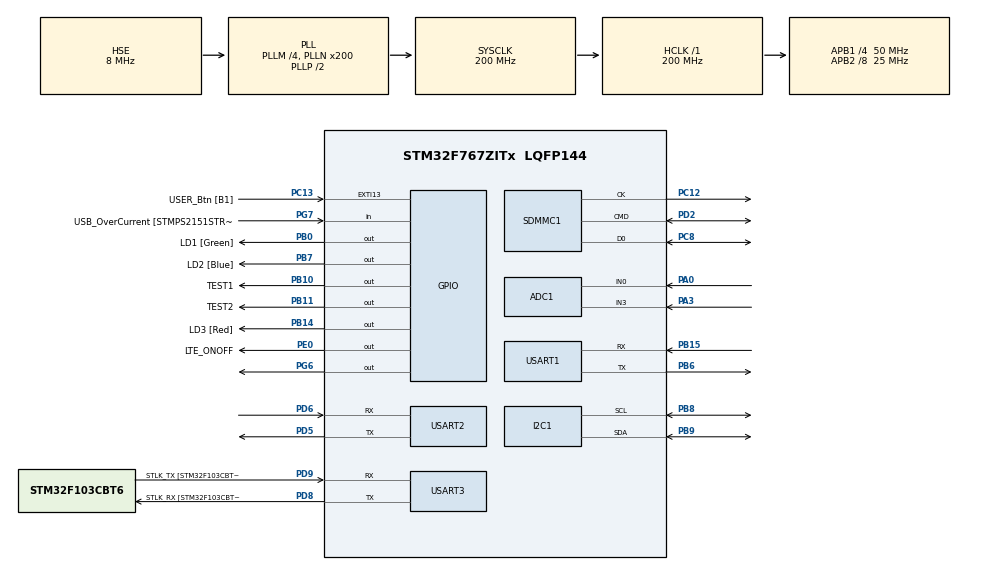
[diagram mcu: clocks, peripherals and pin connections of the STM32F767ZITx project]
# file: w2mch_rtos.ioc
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ADC1.Channel-0\#ChannelRegularConversion=ADC_CHANNEL_0
ADC1.Channel-2\#ChannelRegularConversion=ADC_CHANNEL_3
ADC1.ClockPrescaler=ADC_CLOCK_SYNC_PCLK_DIV8
ADC1.ContinuousConvMode=ENABLE
ADC1.DMAContinuousRequests=ENABLE
ADC1.NbrOfConversion=2
ADC1.NbrOfConversionFlag=1
ADC1.Rank-0\#ChannelRegularConversion=1
ADC1.Rank-2\#ChannelRegularConversion=2
ADC1.SamplingTime-0\#ChannelRegularConversion=ADC_SAMPLETIME_84CYCLES
ADC1.SamplingTime-2\#ChannelRegularConversion=ADC_SAMPLETIME_28CYCLES
ADC1.ScanConvMode=ADC_SCAN_ENABLE
ADC1.master=1
Dma.ADC1.0.Direction=DMA_PERIPH_TO_MEMORY
Dma.ADC1.0.FIFOMode=DMA_FIFOMODE_DISABLE
Dma.ADC1.0.Instance=DMA2_Stream0
Dma.ADC1.0.MemDataAlignment=DMA_MDATAALIGN_HALFWORD
Dma.ADC1.0.MemInc=DMA_MINC_ENABLE
Dma.ADC1.0.Mode=DMA_CIRCULAR
Dma.ADC1.0.PeriphDataAlignment=DMA_PDATAALIGN_HALFWORD
Dma.ADC1.0.PeriphInc=DMA_PINC_DISABLE
Dma.ADC1.0.Priority=DMA_PRIORITY_LOW
Dma.Request0=ADC1
Dma.Request1=USART2_RX
Dma.USART2_RX.1.Direction=DMA_PERIPH_TO_MEMORY
Dma.USART2_RX.1.FIFOMode=DMA_FIFOMODE_DISABLE
Dma.USART2_RX.1.Instance=DMA1_Stream5
Dma.USART2_RX.1.MemDataAlignment=DMA_MDATAALIGN_BYTE
Dma.USART2_RX.1.MemInc=DMA_MINC_ENABLE
Dma.USART2_RX.1.Mode=DMA_NORMAL
Dma.USART2_RX.1.PeriphDataAlignment=DMA_PDATAALIGN_BYTE
Dma.USART2_RX.1.PeriphInc=DMA_PINC_DISABLE
Dma.USART2_RX.1.Priority=DMA_PRIORITY_LOW
FREERTOS.Tasks01=mainTask,24,1024,StartMainTask,Default,NULL,Dynamic,NULL,NULL
FREERTOS.configUSE_NEWLIB_REENTRANT=1
I2C1.Timing=0x00C0EAFF
Mcu.Family=STM32F7
Mcu.Name=STM32F767ZITx
Mcu.Package=LQFP144
NVIC.DMA1_Stream5_IRQn=true\:5\:0\:false\:false\:true\:true\:false\:true
NVIC.DMA2_Stream0_IRQn=true\:5\:0\:false\:false\:true\:true\:false\:true
NVIC.PriorityGroup=NVIC_PRIORITYGROUP_4
NVIC.TIM8_TRG_COM_TIM14_IRQn=true\:15\:0\:false\:false\:true\:false\:false\:true
NVIC.TimeBase=TIM8_TRG_COM_TIM14_IRQn
NVIC.TimeBaseIP=TIM14
NVIC.USART2_IRQn=true\:5\:0\:false\:false\:true\:true\:true\:true
PA0/WKUP.Signal=ADCx_IN0
PA1.GPIO_Label=RMII_REF_CLK [LAN8742A-CZ-TR_REFCLK0]
PA1.Signal=ETH_REF_CLK
PA10.GPIO_Label=USB_ID
PA10.Signal=USB_OTG_FS_ID
PA11.GPIO_Label=USB_DM
PA11.Signal=USB_OTG_FS_DM
PA12.GPIO_Label=USB_DP
PA12.Signal=USB_OTG_FS_DP
PA13.GPIO_Label=TMS
PA13.Mode=Serial_Wire
PA13.Signal=SYS_JTMS-SWDIO
PA14.GPIO_Label=TCK
PA14.Mode=Serial_Wire
PA14.Signal=SYS_JTCK-SWCLK
PA2.GPIO_Label=RMII_MDIO [LAN8742A-CZ-TR_MDIO]
PA2.Signal=ETH_MDIO
PA3.Signal=ADCx_IN3
PA7.GPIO_Label=RMII_CRS_DV [LAN8742A-CZ-TR_CRS_DV]
PA7.Signal=ETH_CRS_DV
PA8.GPIO_Label=USB_SOF [TP1]
PA8.Signal=USB_OTG_FS_SOF
PA9.GPIO_Label=USB_VBUS
PA9.Signal=USB_OTG_FS_VBUS
PB0.GPIO_Label=LD1 [Green]
PB0.Signal=GPIO_Output
PB10.GPIO_Label=TEST1
PB10.Signal=GPIO_Output
PB11.GPIO_Label=TEST2
PB11.Signal=GPIO_Output
PB13.GPIO_Label=RMII_TXD1 [LAN8742A-CZ-TR_TXD1]
PB13.Signal=ETH_TXD1
PB14.GPIO_Label=LD3 [Red]
PB14.Signal=GPIO_Output
PB15.Mode=Asynchronous
PB15.Signal=USART1_RX
PB3.GPIO_Label=SWO
PB3.Signal=SYS_JTDO-SWO
PB6.Mode=Asynchronous
PB6.Signal=USART1_TX
PB7.GPIO_Label=LD2 [Blue]
PB7.Signal=GPIO_Output
PB8.Mode=I2C
PB8.Signal=I2C1_SCL
PB9.Mode=I2C
PB9.Signal=I2C1_SDA
PC1.GPIO_Label=RMII_MDC [LAN8742A-CZ-TR_MDC]
PC1.Signal=ETH_MDC
PC12.Mode=SD_1_bit
PC12.Signal=SDMMC1_CK
PC13.GPIO_Label=USER_Btn [B1]
PC13.Signal=GPXTI13
PC14/OSC32_IN.Mode=LSE-External-Oscillator
PC14/OSC32_IN.Signal=RCC_OSC32_IN
PC15/OSC32_OUT.Mode=LSE-External-Oscillator
PC15/OSC32_OUT.Signal=RCC_OSC32_OUT
PC4.GPIO_Label=RMII_RXD0 [LAN8742A-CZ-TR_RXD0]
PC4.Signal=ETH_RXD0
PC5.GPIO_Label=RMII_RXD1 [LAN8742A-CZ-TR_RXD1]
PC5.Signal=ETH_RXD1
PC8.Mode=SD_1_bit
PC8.Signal=SDMMC1_D0
PD2.Mode=SD_1_bit
PD2.Signal=SDMMC1_CMD
PD5.GPIO_PuPd=GPIO_NOPULL
PD5.Mode=Asynchronous
PD5.Signal=USART2_TX
PD6.GPIO_PuPd=GPIO_NOPULL
PD6.Mode=Asynchronous
PD6.Signal=USART2_RX
PD8.GPIO_Label=STLK_RX [STM32F103CBT6_PA3]
PD8.Mode=Asynchronous
PD8.Signal=USART3_TX
PD9.GPIO_Label=STLK_TX [STM32F103CBT6_PA2]
PD9.Mode=Asynchronous
PD9.Signal=USART3_RX
PE0.GPIO_Label=LTE_ONOFF
PE0.GPIO_ModeDefaultOutputPP=GPIO_MODE_OUTPUT_OD
PE0.GPIO_PuPd=GPIO_NOPULL
PE0.PinState=GPIO_PIN_SET
PE0.Signal=GPIO_Output
PG11.GPIO_Label=RMII_TX_EN [LAN8742A-CZ-TR_TXEN]
PG11.Signal=ETH_TX_EN
PG13.GPIO_Label=RMII_TXD0 [LAN8742A-CZ-TR_TXD0]
PG13.Signal=ETH_TXD0
PG6.Signal=GPIO_Output
PG7.GPIO_Label=USB_OverCurrent [STMPS2151STR_FAULT]
PG7.Signal=GPIO_Input
PH0/OSC_IN.GPIO_Label=MCO [STM32F103CBT6_PA8]
PH0/OSC_IN.Mode=HSE-External-Clock-Source
PH0/OSC_IN.Signal=RCC_OSC_IN
PH1/OSC_OUT.Mode=HSE-External-Clock-Source
PH1/OSC_OUT.Signal=RCC_OSC_OUT
ProjectManager.HeapSize=0x200
ProjectManager.StackSize=0x400
ProjectManager.TargetToolchain=STM32CubeIDE
RCC.48MHZClocksFreq_Value=24000000
RCC.AHBFreq_Value=200000000
RCC.APB1CLKDivider=RCC_HCLK_DIV4
RCC.APB1Freq_Value=50000000
RCC.APB1TimFreq_Value=100000000
RCC.APB2CLKDivider=RCC_HCLK_DIV8
RCC.APB2Freq_Value=25000000
RCC.APB2TimFreq_Value=50000000
RCC.CortexFreq_Value=200000000
RCC.HCLKFreq_Value=200000000
RCC.HSE_VALUE=8000000
RCC.HSI_VALUE=16000000
RCC.PLLM=4
RCC.PLLMUL=RCC_PLL_MUL9
RCC.PLLN=200
RCC.PLLQ=10
RCC.PLLSourceVirtual=RCC_PLLSOURCE_HSE
RCC.PRESCALERUSB=RCC_USBCLKSOURCE_PLL_DIV1_5
RCC.SDMMCClockSelection=RCC_SDMMC1CLKSOURCE_CLK48
RCC.SYSCLKFreq_VALUE=200000000
RCC.SYSCLKSource=RCC_SYSCLKSOURCE_PLLCLK
RCC.SYSCLKSourceVirtual=RCC_SYSCLKSOURCE_PLLCLK
RCC.USART2CLockSelection=RCC_USART2CLKSOURCE_SYSCLK
RCC.USBFreq_Value=40000000
RCC.VCOOutputFreq_Value=400000000
SDMMC1.ClockDiv=1
SH.ADCx_IN0.0=ADC1_IN0,IN0
SH.ADCx_IN3.0=ADC1_IN3,IN3
USART1.VirtualMode-Asynchronous=VM_ASYNC
USART2.OverSampling=UART_OVERSAMPLING_8
USART2.VirtualMode-Asynchronous=VM_ASYNC
USART3.VirtualMode-Asynchronous=VM_ASYNC
VP_FREERTOS_VS_CMSIS_V2.Mode=CMSIS_V2
VP_RTC_VS_RTC_Activate.Mode=RTC_Enabled
VP_RTC_VS_RTC_Calendar.Mode=RTC_Calendar
VP_SYS_VS_tim14.Mode=TIM14
board=NUCLEO-F767ZI

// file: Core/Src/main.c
/* USER CODE BEGIN Header */
/**
  ******************************************************************************
  * @file           : main.c
  * @brief          : Main program body
  ******************************************************************************
  * @attention
  *
  * Copyright (c) 2022 STMicroelectronics.
  * All rights reserved.
  *
  * This software is licensed under terms that can be found in the LICENSE file
  * in the root directory of this software component.
  * If no LICENSE file comes with this software, it is provided AS-IS.
  *
  ******************************************************************************
  */
/* USER CODE END Header */
#include "main.h"
#include "cmsis_os.h"

/* USER CODE BEGIN Includes */
#include "globals.h"
#include "lte.h"
#include "audio.h"
#include "terminal.h"

/* USER CODE END Includes */

/* USER CODE BEGIN PD */

// 591411751

typedef struct
{
	uint8_t mode;
	uint32_t delay;
}TASK_PARAM;

/* USER CODE END PD */

ADC_HandleTypeDef hadc1;
DMA_HandleTypeDef hdma_adc1;

I2C_HandleTypeDef hi2c1;

RTC_HandleTypeDef hrtc;

SD_HandleTypeDef hsd1;

UART_HandleTypeDef huart1;
UART_HandleTypeDef huart2;
UART_HandleTypeDef huart3;
DMA_HandleTypeDef hdma_usart2_rx;

/* Definitions for mainTask */
osThreadId_t mainTaskHandle;
const osThreadAttr_t mainTask_attributes = {
  .name = "mainTask",
  .stack_size = 1024 * 4,
  .priority = (osPriority_t) osPriorityNormal,
};
/* USER CODE BEGIN PV */

/*
 * sram1
 *  start - 0x20020000,
 *  end -   0x2007BFFF
 *  size - 368KB
 * sram2
 *  start - 0x2007c000
 *  end - 0x2007FFFF
 *  size - 16KB
 *
 *  samplebuf allocated in sram1.  start - 0x20020000, size 180Kb.
 *
 *  request and response buffers allocated in sram2.
 *
 *
 *
 *  alawbuf and all other variables(including the stack) will be allocated in DTCM ram.
 *  DTCM ram size 128KB.
 */

/*
uint8_t * const sram1 = (uint8_t*)0x20020000;
uint8_t * const sram2 = (uint8_t*)0x2007c000;

uint16_t* samplebuf=(uint16_t*)(sram1+0x30000);
uint8_t* samplebufByte=(sram1+0x30000);

uint8_t* readbuf=(sram1+0x50000);

uint8_t* request=sram2;
uint8_t* response=sram2+2*1024;
uint8_t* reserve=sram2+3*1024;

uint8_t* alawbuf;
*/

LTE_PARAM lte_task_param=
{
	.huart=&huart2,
	.sram1=(uint8_t*)0x20020000,
	.sram2=(uint8_t*)0x2007c000,
};

AUDIO_PARAM audio_task_param=
{
		.hadc=&hadc1,
		.hsd=&hsd1,
		.sram1=(uint8_t*)0x20020000,
		.sram2=(uint8_t*)0x2007c000,
};

xSemaphoreHandle terminalMutex;
xSemaphoreHandle audioMutex;
xSemaphoreHandle rtcMutex;

MEM_BUF terminalbuf;

BaseType_t lteTask;
TaskHandle_t lteTaskHandle=NULL;

BaseType_t audioTask;
TaskHandle_t audioTaskHandle=NULL;

RTC_TimeTypeDef currTime;
RTC_DateTypeDef currDate;
/* USER CODE END PV */

void SystemClock_Config(void);
static void MX_GPIO_Init(void);
static void MX_USART3_UART_Init(void);
static void MX_RTC_Init(void);
static void MX_USART1_UART_Init(void);
static void MX_USART2_UART_Init(void);
static void MX_SDMMC1_SD_Init(void);
static void MX_DMA_Init(void);
static void MX_ADC1_Init(void);
static void MX_I2C1_Init(void);
void StartMainTask(void *argument);

int main(void)
{

  /* MCU Configuration--------------------------------------------------------*/

  /* Reset of all peripherals, Initializes the Flash interface and the Systick. */
  HAL_Init();

  /* Configure the system clock */
  SystemClock_Config();

  /* Initialize all configured peripherals */
  MX_GPIO_Init();
  MX_USART3_UART_Init();
  MX_RTC_Init();
  MX_USART1_UART_Init();
  MX_SDMMC1_SD_Init();
  MX_DMA_Init();
  MX_ADC1_Init();
  MX_I2C1_Init();
  /* USER CODE BEGIN 2 */
  //MX_USART1_UART_Init();

  HAL_GPIO_WritePin(LTE_ONOFF_GPIO_Port, LTE_ONOFF_Pin, 0);
  HAL_Delay(1000);
  HAL_GPIO_WritePin(LTE_ONOFF_GPIO_Port, LTE_ONOFF_Pin, 1);;
  LOG("LTE powered ON, waiting ready!\r\n");
  HAL_Delay(12000);
  LOG("LTE ready!\r\n");

  MX_USART2_UART_Init();

  /* USER CODE END 2 */

  /* Init scheduler */
  osKernelInitialize();

  /* USER CODE BEGIN RTOS_MUTEX */
  /* add mutexes, ... */
  terminalMutex = xSemaphoreCreateMutex();
  if(terminalMutex!=NULL)
  {
	  LOG("LTE Mutex created\r\n");
  }
  else
  {
	  LOG("Error creating LTE Mutex");
  }
  audioMutex = xSemaphoreCreateMutex();
  if(audioMutex!=NULL)
  {
  	  LOG("Audio Mutex created\r\n");
  }
  else
  {
	  LOG("Error creating Audio Mutex");
  }
  rtcMutex = xSemaphoreCreateMutex();
  if(rtcMutex!=NULL)
  {
	  LOG("RTC Mutex created\r\n");
  }
  else
  {
	  LOG("Error creating RTC Mutex");
  }
  /* USER CODE END RTOS_MUTEX */

  /* Create the thread(s) */
  /* creation of mainTask */
  mainTaskHandle = osThreadNew(StartMainTask, NULL, &mainTask_attributes);

  /* USER CODE BEGIN RTOS_THREADS */
  /* add threads, ... */

  lteTask = xTaskCreate(lteTaskRun, "lte", 1024, (void*)&lte_task_param, osPriorityRealtime, &lteTaskHandle);
  if(lteTask == pdPASS)
  {
	  LOG("LTE Task created\r\n");
  }
  else
  {
	  LOG("Error creating LTE Task\r\n");
  }

  //*
  audioTask=xTaskCreate(audioTaskRun, "audio", 1024, (void*)&audio_task_param, osPriorityRealtime7, &audioTaskHandle);
  if(audioTask == pdPASS)
  {
  	  LOG("Audio Task created\r\n");
  }
  else
  {
  	  LOG("Error creating Audio Task\r\n");
  }
  //*/

  /* USER CODE END RTOS_THREADS */

  /* Start scheduler */
  osKernelStart();

  /* We should never get here as control is now taken by the scheduler */
  /* Infinite loop */
  while (1)
  {

  }
}

void SystemClock_Config(void)
{
  RCC_OscInitTypeDef RCC_OscInitStruct = {0};
  RCC_ClkInitTypeDef RCC_ClkInitStruct = {0};

  /** Configure LSE Drive Capability
  */
  HAL_PWR_EnableBkUpAccess();
  /** Configure the main internal regulator output voltage
  */
  __HAL_RCC_PWR_CLK_ENABLE();
  __HAL_PWR_VOLTAGESCALING_CONFIG(PWR_REGULATOR_VOLTAGE_SCALE1);
  /** Initializes the RCC Oscillators according to the specified parameters
  * in the RCC_OscInitTypeDef structure.
  */
  RCC_OscInitStruct.OscillatorType = RCC_OSCILLATORTYPE_LSI|RCC_OSCILLATORTYPE_HSE;
  RCC_OscInitStruct.HSEState = RCC_HSE_BYPASS;
  RCC_OscInitStruct.LSIState = RCC_LSI_ON;
  RCC_OscInitStruct.PLL.PLLState = RCC_PLL_ON;
  RCC_OscInitStruct.PLL.PLLSource = RCC_PLLSOURCE_HSE;
  RCC_OscInitStruct.PLL.PLLM = 4;
  RCC_OscInitStruct.PLL.PLLN = 200;
  RCC_OscInitStruct.PLL.PLLP = RCC_PLLP_DIV2;
  RCC_OscInitStruct.PLL.PLLQ = 10;
  RCC_OscInitStruct.PLL.PLLR = 2;
  if (HAL_RCC_OscConfig(&RCC_OscInitStruct) != HAL_OK)
  {
    Error_Handler();
  }
  /** Activate the Over-Drive mode
  */
  if (HAL_PWREx_EnableOverDrive() != HAL_OK)
  {
    Error_Handler();
  }
  /** Initializes the CPU, AHB and APB buses clocks
  */
  RCC_ClkInitStruct.ClockType = RCC_CLOCKTYPE_HCLK|RCC_CLOCKTYPE_SYSCLK
                              |RCC_CLOCKTYPE_PCLK1|RCC_CLOCKTYPE_PCLK2;
  RCC_ClkInitStruct.SYSCLKSource = RCC_SYSCLKSOURCE_PLLCLK;
  RCC_ClkInitStruct.AHBCLKDivider = RCC_SYSCLK_DIV1;
  RCC_ClkInitStruct.APB1CLKDivider = RCC_HCLK_DIV4;
  RCC_ClkInitStruct.APB2CLKDivider = RCC_HCLK_DIV8;

  if (HAL_RCC_ClockConfig(&RCC_ClkInitStruct, FLASH_LATENCY_6) != HAL_OK)
  {
    Error_Handler();
  }
}

static void MX_ADC1_Init(void)
{

  ADC_ChannelConfTypeDef sConfig = {0};

  /** Configure the global features of the ADC (Clock, Resolution, Data Alignment and number of conversion)
  */
  hadc1.Instance = ADC1;
  hadc1.Init.ClockPrescaler = ADC_CLOCK_SYNC_PCLK_DIV8;
  hadc1.Init.Resolution = ADC_RESOLUTION_12B;
  hadc1.Init.ScanConvMode = ADC_SCAN_ENABLE;
  hadc1.Init.ContinuousConvMode = ENABLE;
  hadc1.Init.DiscontinuousConvMode = DISABLE;
  hadc1.Init.ExternalTrigConvEdge = ADC_EXTERNALTRIGCONVEDGE_NONE;
  hadc1.Init.ExternalTrigConv = ADC_SOFTWARE_START;
  hadc1.Init.DataAlign = ADC_DATAALIGN_RIGHT;
  hadc1.Init.NbrOfConversion = 2;
  hadc1.Init.DMAContinuousRequests = ENABLE;
  hadc1.Init.EOCSelection = ADC_EOC_SINGLE_CONV;
  if (HAL_ADC_Init(&hadc1) != HAL_OK)
  {
    Error_Handler();
  }
  /** Configure for the selected ADC regular channel its corresponding rank in the sequencer and its sample time.
  */
  sConfig.Channel = ADC_CHANNEL_0;
  sConfig.Rank = ADC_REGULAR_RANK_1;
  sConfig.SamplingTime = ADC_SAMPLETIME_84CYCLES;
  if (HAL_ADC_ConfigChannel(&hadc1, &sConfig) != HAL_OK)
  {
    Error_Handler();
  }
  /** Configure for the selected ADC regular channel its corresponding rank in the sequencer and its sample time.
  */
  sConfig.Channel = ADC_CHANNEL_3;
  sConfig.Rank = ADC_REGULAR_RANK_2;
  sConfig.SamplingTime = ADC_SAMPLETIME_28CYCLES;
  if (HAL_ADC_ConfigChannel(&hadc1, &sConfig) != HAL_OK)
  {
    Error_Handler();
  }

}

static void MX_I2C1_Init(void)
{

  hi2c1.Instance = I2C1;
  hi2c1.Init.Timing = 0x00C0EAFF;
  hi2c1.Init.OwnAddress1 = 0;
  hi2c1.Init.AddressingMode = I2C_ADDRESSINGMODE_7BIT;
  hi2c1.Init.DualAddressMode = I2C_DUALADDRESS_DISABLE;
  hi2c1.Init.OwnAddress2 = 0;
  hi2c1.Init.OwnAddress2Masks = I2C_OA2_NOMASK;
  hi2c1.Init.GeneralCallMode = I2C_GENERALCALL_DISABLE;
  hi2c1.Init.NoStretchMode = I2C_NOSTRETCH_DISABLE;
  if (HAL_I2C_Init(&hi2c1) != HAL_OK)
  {
    Error_Handler();
  }
  /** Configure Analogue filter
  */
  if (HAL_I2CEx_ConfigAnalogFilter(&hi2c1, I2C_ANALOGFILTER_ENABLE) != HAL_OK)
  {
    Error_Handler();
  }
  /** Configure Digital filter
  */
  if (HAL_I2CEx_ConfigDigitalFilter(&hi2c1, 0) != HAL_OK)
  {
    Error_Handler();
  }

}

static void MX_RTC_Init(void)
{

  RTC_TimeTypeDef sTime = {0};
  RTC_DateTypeDef sDate = {0};

  /** Initialize RTC Only
  */
  hrtc.Instance = RTC;
  hrtc.Init.HourFormat = RTC_HOURFORMAT_24;
  hrtc.Init.AsynchPrediv = 127;
  hrtc.Init.SynchPrediv = 255;
  hrtc.Init.OutPut = RTC_OUTPUT_DISABLE;
  hrtc.Init.OutPutPolarity = RTC_OUTPUT_POLARITY_HIGH;
  hrtc.Init.OutPutType = RTC_OUTPUT_TYPE_OPENDRAIN;
  if (HAL_RTC_Init(&hrtc) != HAL_OK)
  {
    Error_Handler();
  }

  /** Initialize RTC and set the Time and Date
  */
  sTime.Hours = 0x0;
  sTime.Minutes = 0x0;
  sTime.Seconds = 0x0;
  sTime.DayLightSaving = RTC_DAYLIGHTSAVING_NONE;
  sTime.StoreOperation = RTC_STOREOPERATION_RESET;
  if (HAL_RTC_SetTime(&hrtc, &sTime, RTC_FORMAT_BCD) != HAL_OK)
  {
    Error_Handler();
  }
  sDate.WeekDay = RTC_WEEKDAY_MONDAY;
  sDate.Month = RTC_MONTH_JANUARY;
  sDate.Date = 0x1;
  sDate.Year = 0x0;

  if (HAL_RTC_SetDate(&hrtc, &sDate, RTC_FORMAT_BCD) != HAL_OK)
  {
    Error_Handler();
  }

}

static void MX_SDMMC1_SD_Init(void)
{

  /* USER CODE BEGIN SDMMC1_Init 0 */
	LOG("Started SD MMC Initialization \r\n");
  /* USER CODE END SDMMC1_Init 0 */

  hsd1.Instance = SDMMC1;
  hsd1.Init.ClockEdge = SDMMC_CLOCK_EDGE_RISING;
  hsd1.Init.ClockBypass = SDMMC_CLOCK_BYPASS_DISABLE;
  hsd1.Init.ClockPowerSave = SDMMC_CLOCK_POWER_SAVE_DISABLE;
  hsd1.Init.BusWide = SDMMC_BUS_WIDE_1B;
  hsd1.Init.HardwareFlowControl = SDMMC_HARDWARE_FLOW_CONTROL_DISABLE;
  hsd1.Init.ClockDiv = 1;
  if (HAL_SD_Init(&hsd1) != HAL_OK)
  {
    Error_Handler();
  }
  /* USER CODE BEGIN SDMMC1_Init 2 */
  LOG("OK, SD MMC Initialized. \r\n");
  /* USER CODE END SDMMC1_Init 2 */

}

static void MX_USART1_UART_Init(void)
{

  huart1.Instance = USART1;
  huart1.Init.BaudRate = 115200;
  huart1.Init.WordLength = UART_WORDLENGTH_8B;
  huart1.Init.StopBits = UART_STOPBITS_1;
  huart1.Init.Parity = UART_PARITY_NONE;
  huart1.Init.Mode = UART_MODE_TX_RX;
  huart1.Init.HwFlowCtl = UART_HWCONTROL_NONE;
  huart1.Init.OverSampling = UART_OVERSAMPLING_16;
  huart1.Init.OneBitSampling = UART_ONE_BIT_SAMPLE_DISABLE;
  huart1.AdvancedInit.AdvFeatureInit = UART_ADVFEATURE_NO_INIT;
  if (HAL_UART_Init(&huart1) != HAL_OK)
  {
    Error_Handler();
  }
  /* USER CODE BEGIN USART1_Init 2 */
  uart_logger_init(&huart1,"w2mch>");
  LOG("Loger UART Initialized\r\n");
  /* USER CODE END USART1_Init 2 */

}

static void MX_USART2_UART_Init(void)
{

  huart2.Instance = USART2;
  huart2.Init.BaudRate = 115200;
  huart2.Init.WordLength = UART_WORDLENGTH_8B;
  huart2.Init.StopBits = UART_STOPBITS_1;
  huart2.Init.Parity = UART_PARITY_NONE;
  huart2.Init.Mode = UART_MODE_TX_RX;
  huart2.Init.HwFlowCtl = UART_HWCONTROL_NONE;
  huart2.Init.OverSampling = UART_OVERSAMPLING_8;
  huart2.Init.OneBitSampling = UART_ONE_BIT_SAMPLE_DISABLE;
  huart2.AdvancedInit.AdvFeatureInit = UART_ADVFEATURE_NO_INIT;
  if (HAL_UART_Init(&huart2) != HAL_OK)
  {
    Error_Handler();
  }

}

static void MX_USART3_UART_Init(void)
{

  huart3.Instance = USART3;
  huart3.Init.BaudRate = 115200;
  huart3.Init.WordLength = UART_WORDLENGTH_8B;
  huart3.Init.StopBits = UART_STOPBITS_1;
  huart3.Init.Parity = UART_PARITY_NONE;
  huart3.Init.Mode = UART_MODE_TX_RX;
  huart3.Init.HwFlowCtl = UART_HWCONTROL_NONE;
  huart3.Init.OverSampling = UART_OVERSAMPLING_16;
  huart3.Init.OneBitSampling = UART_ONE_BIT_SAMPLE_DISABLE;
  huart3.AdvancedInit.AdvFeatureInit = UART_ADVFEATURE_NO_INIT;
  if (HAL_UART_Init(&huart3) != HAL_OK)
  {
    Error_Handler();
  }

}

static void MX_DMA_Init(void)
{

  /* DMA controller clock enable */
  __HAL_RCC_DMA2_CLK_ENABLE();
  __HAL_RCC_DMA1_CLK_ENABLE();

  /* DMA interrupt init */
  /* DMA1_Stream5_IRQn interrupt configuration */
  HAL_NVIC_SetPriority(DMA1_Stream5_IRQn, 5, 0);
  HAL_NVIC_EnableIRQ(DMA1_Stream5_IRQn);
  /* DMA2_Stream0_IRQn interrupt configuration */
  HAL_NVIC_SetPriority(DMA2_Stream0_IRQn, 5, 0);
  HAL_NVIC_EnableIRQ(DMA2_Stream0_IRQn);

}

static void MX_GPIO_Init(void)
{
  GPIO_InitTypeDef GPIO_InitStruct = {0};

  /* GPIO Ports Clock Enable */
  __HAL_RCC_GPIOC_CLK_ENABLE();
  __HAL_RCC_GPIOH_CLK_ENABLE();
  __HAL_RCC_GPIOA_CLK_ENABLE();
  __HAL_RCC_GPIOB_CLK_ENABLE();
  __HAL_RCC_GPIOD_CLK_ENABLE();
  __HAL_RCC_GPIOG_CLK_ENABLE();
  __HAL_RCC_GPIOE_CLK_ENABLE();

  /*Configure GPIO pin Output Level */
  HAL_GPIO_WritePin(GPIOB, LD1_Pin|TEST1_Pin|TEST2_Pin|LD3_Pin
                          |LD2_Pin, GPIO_PIN_RESET);

  /*Configure GPIO pin Output Level */
  HAL_GPIO_WritePin(GPIOG, GPIO_PIN_6, GPIO_PIN_RESET);

  /*Configure GPIO pin Output Level */
  HAL_GPIO_WritePin(LTE_ONOFF_GPIO_Port, LTE_ONOFF_Pin, GPIO_PIN_SET);

  /*Configure GPIO pin : USER_Btn_Pin */
  GPIO_InitStruct.Pin = USER_Btn_Pin;
  GPIO_InitStruct.Mode = GPIO_MODE_IT_RISING;
  GPIO_InitStruct.Pull = GPIO_NOPULL;
  HAL_GPIO_Init(USER_Btn_GPIO_Port, &GPIO_InitStruct);

  /*Configure GPIO pins : RMII_MDC_Pin RMII_RXD0_Pin RMII_RXD1_Pin */
  GPIO_InitStruct.Pin = RMII_MDC_Pin|RMII_RXD0_Pin|RMII_RXD1_Pin;
  GPIO_InitStruct.Mode = GPIO_MODE_AF_PP;
  GPIO_InitStruct.Pull = GPIO_NOPULL;
  GPIO_InitStruct.Speed = GPIO_SPEED_FREQ_VERY_HIGH;
  GPIO_InitStruct.Alternate = GPIO_AF11_ETH;
  HAL_GPIO_Init(GPIOC, &GPIO_InitStruct);

  /*Configure GPIO pins : RMII_REF_CLK_Pin RMII_MDIO_Pin RMII_CRS_DV_Pin */
  GPIO_InitStruct.Pin = RMII_REF_CLK_Pin|RMII_MDIO_Pin|RMII_CRS_DV_Pin;
  GPIO_InitStruct.Mode = GPIO_MODE_AF_PP;
  GPIO_InitStruct.Pull = GPIO_NOPULL;
  GPIO_InitStruct.Speed = GPIO_SPEED_FREQ_VERY_HIGH;
  GPIO_InitStruct.Alternate = GPIO_AF11_ETH;
  HAL_GPIO_Init(GPIOA, &GPIO_InitStruct);

  /*Configure GPIO pins : LD1_Pin TEST1_Pin TEST2_Pin LD3_Pin
                           LD2_Pin */
  GPIO_InitStruct.Pin = LD1_Pin|TEST1_Pin|TEST2_Pin|LD3_Pin
                          |LD2_Pin;
  GPIO_InitStruct.Mode = GPIO_MODE_OUTPUT_PP;
  GPIO_InitStruct.Pull = GPIO_NOPULL;
  GPIO_InitStruct.Speed = GPIO_SPEED_FREQ_LOW;
  HAL_GPIO_Init(GPIOB, &GPIO_InitStruct);

  /*Configure GPIO pin : RMII_TXD1_Pin */
  GPIO_InitStruct.Pin = RMII_TXD1_Pin;
  GPIO_InitStruct.Mode = GPIO_MODE_AF_PP;
  GPIO_InitStruct.Pull = GPIO_NOPULL;
  GPIO_InitStruct.Speed = GPIO_SPEED_FREQ_VERY_HIGH;
  GPIO_InitStruct.Alternate = GPIO_AF11_ETH;
  HAL_GPIO_Init(RMII_TXD1_GPIO_Port, &GPIO_InitStruct);

  /*Configure GPIO pin : PG6 */
  GPIO_InitStruct.Pin = GPIO_PIN_6;
  GPIO_InitStruct.Mode = GPIO_MODE_OUTPUT_PP;
  GPIO_InitStruct.Pull = GPIO_NOPULL;
  GPIO_InitStruct.Speed = GPIO_SPEED_FREQ_LOW;
  HAL_GPIO_Init(GPIOG, &GPIO_InitStruct);

  /*Configure GPIO pin : USB_OverCurrent_Pin */
  GPIO_InitStruct.Pin = USB_OverCurrent_Pin;
  GPIO_InitStruct.Mode = GPIO_MODE_INPUT;
  GPIO_InitStruct.Pull = GPIO_NOPULL;
  HAL_GPIO_Init(USB_OverCurrent_GPIO_Port, &GPIO_InitStruct);

  /*Configure GPIO pins : USB_SOF_Pin USB_ID_Pin USB_DM_Pin USB_DP_Pin */
  GPIO_InitStruct.Pin = USB_SOF_Pin|USB_ID_Pin|USB_DM_Pin|USB_DP_Pin;
  GPIO_InitStruct.Mode = GPIO_MODE_AF_PP;
  GPIO_InitStruct.Pull = GPIO_NOPULL;
  GPIO_InitStruct.Speed = GPIO_SPEED_FREQ_VERY_HIGH;
  GPIO_InitStruct.Alternate = GPIO_AF10_OTG_FS;
  HAL_GPIO_Init(GPIOA, &GPIO_InitStruct);

  /*Configure GPIO pin : USB_VBUS_Pin */
  GPIO_InitStruct.Pin = USB_VBUS_Pin;
  GPIO_InitStruct.Mode = GPIO_MODE_INPUT;
  GPIO_InitStruct.Pull = GPIO_NOPULL;
  HAL_GPIO_Init(USB_VBUS_GPIO_Port, &GPIO_InitStruct);

  /*Configure GPIO pins : RMII_TX_EN_Pin RMII_TXD0_Pin */
  GPIO_InitStruct.Pin = RMII_TX_EN_Pin|RMII_TXD0_Pin;
  GPIO_InitStruct.Mode = GPIO_MODE_AF_PP;
  GPIO_InitStruct.Pull = GPIO_NOPULL;
  GPIO_InitStruct.Speed = GPIO_SPEED_FREQ_VERY_HIGH;
  GPIO_InitStruct.Alternate = GPIO_AF11_ETH;
  HAL_GPIO_Init(GPIOG, &GPIO_InitStruct);

  /*Configure GPIO pin : LTE_ONOFF_Pin */
  GPIO_InitStruct.Pin = LTE_ONOFF_Pin;
  GPIO_InitStruct.Mode = GPIO_MODE_OUTPUT_OD;
  GPIO_InitStruct.Pull = GPIO_NOPULL;
  GPIO_InitStruct.Speed = GPIO_SPEED_FREQ_LOW;
  HAL_GPIO_Init(LTE_ONOFF_GPIO_Port, &GPIO_InitStruct);

}

void StartMainTask(void *argument)
{
  /* USER CODE BEGIN 5 */
	terminalRun(argument);
	//uart_log("Terminal Task disabled in this release. \r\n");
  /* USER CODE END 5 */
}

void HAL_TIM_PeriodElapsedCallback(TIM_HandleTypeDef *htim)
{
  if (htim->Instance == TIM14) {
    HAL_IncTick();
  }
}

void Error_Handler(void)
{
  /* USER CODE BEGIN Error_Handler_Debug */
	LOG("Error handler \r\n");
  /* User can add his own implementation to report the HAL error return state */
  __disable_irq();
  while (1)
  {
  }
  /* USER CODE END Error_Handler_Debug */
}
